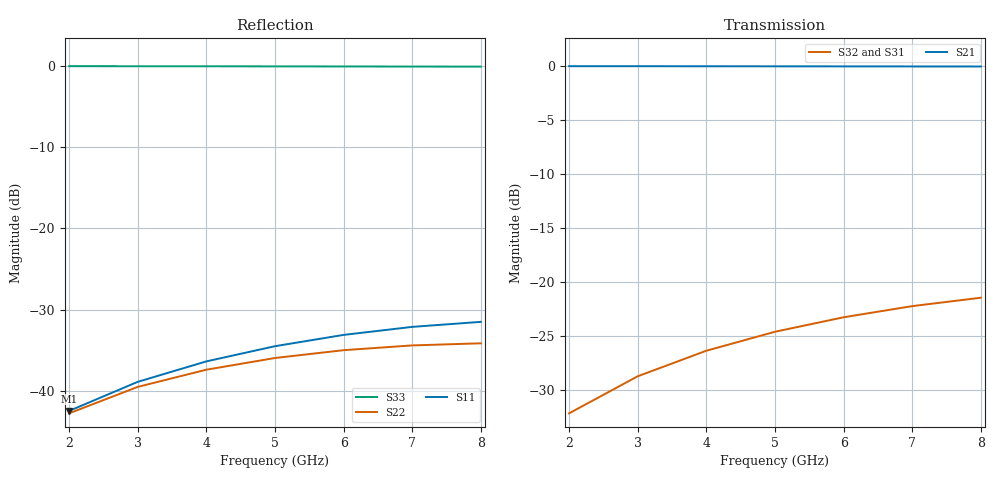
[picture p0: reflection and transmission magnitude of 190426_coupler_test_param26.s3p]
! Sonnet Data File
! From: emgraph Version : 16.56
! From Project: 190426_coupler_test
! Data is De-embedded
! Data File Written: 05/06/2019 15:59:44
!< HDATE 04/25/2019 10:48:44
!< MDATE 04/25/2019 10:59:35
!< PARAMS
!< tandelta = 0.0
!< t_aSi = 0.25
!< W = 10.0
!< Lcoupler = 2500.0
!< END PARAMS
# GHZ S MA R 50.0 !  non standard terminations in data
! TERM 50.00000 0.000000 50.00000 0.000000 63.84000 0.000000
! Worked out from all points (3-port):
!   7 points, 2 GHz to 8 GHz, reference 50 ohm
!   strongest paths, dB at 2 GHz, 3 GHz, 5 GHz, 7 GHz, 8 GHz:
!     S21: 0.0, 0.0, 0.0, 0.0, 0.0
!     S32: -32.2, -28.8, -24.6, -22.3, -21.5
!     S31: -32.2, -28.8, -24.8, -22.4, -21.7
!   lowest |S11| = -42.5 dB at 2 GHz (marker M1), VSWR 1.02, Z = 50.2 + j0.71 ohm
!   |S11| at or under -10 dB: start of sweep to end of sweep
2  0.007512 70.2  0.9997 -21.7  0.02447 49.2
   0.9997 -21.7  0.007261 70.6  0.02454 74.1
   0.02447 49.2  0.02454 74.1  0.9994 -35.4
3  0.01135 59.5  0.9993 -32.6  0.03621 28.8
   0.9993 -32.6  0.01056 60.9  0.03645 66.0
   0.03621 28.8  0.03645 66.0  0.9987 -53.1
4  0.01517 48.0  0.9988 -43.4  0.04738 8.3
   0.9988 -43.4  0.01348 51.3  0.04789 57.9
   0.04738 8.3  0.04789 57.9  0.9977 -70.9
5  0.01882 35.6  0.9982 -54.3  0.05777 -12.1
   0.9982 -54.3  0.01591 41.7  0.05863 49.6
   0.05777 -12.1  0.05863 49.6  0.9966 -88.8
6  0.02209 22.4  0.9975 -65.1  0.06718 -32.6
   0.9975 -65.1  0.01778 32.2  0.06845 41.1
   0.06718 -32.6  0.06845 41.1  0.9954 -106.8
7  0.02475 8.4  0.9968 -75.9  0.07545 -53.1
   0.9968 -75.9  0.01903 22.8  0.0771 32.6
   0.07545 -53.1  0.0771 32.6  0.9942 -124.8
8  0.02658 -6.3  0.9962 -86.7  0.08241 -73.6
   0.9962 -86.7  0.0196 13.6  0.08434 24.0
   0.08241 -73.6  0.08434 24.0  0.993 -143.0
